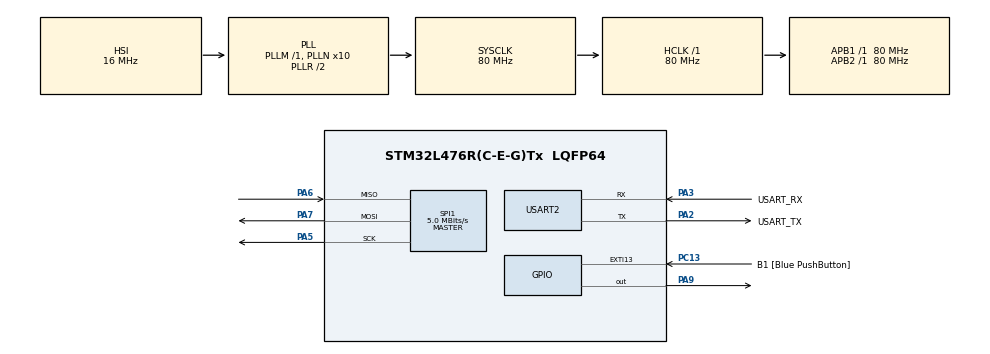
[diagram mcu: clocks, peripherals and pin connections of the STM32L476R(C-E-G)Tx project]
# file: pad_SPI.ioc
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Mcu.Family=STM32L4
Mcu.Name=STM32L476R(C-E-G)Tx
Mcu.Package=LQFP64
NVIC.PriorityGroup=NVIC_PRIORITYGROUP_4
PA13\ (JTMS-SWDIO).GPIO_Label=TMS
PA13\ (JTMS-SWDIO).Mode=Serial_Wire
PA13\ (JTMS-SWDIO).Signal=SYS_JTMS-SWDIO
PA14\ (JTCK-SWCLK).GPIO_Label=TCK
PA14\ (JTCK-SWCLK).Mode=Serial_Wire
PA14\ (JTCK-SWCLK).Signal=SYS_JTCK-SWCLK
PA2.GPIO_Label=USART_TX
PA2.GPIO_Mode=GPIO_MODE_AF_PP
PA2.GPIO_PuPd=GPIO_NOPULL
PA2.GPIO_Speed=GPIO_SPEED_FREQ_VERY_HIGH
PA2.Mode=Asynchronous
PA2.Signal=USART2_TX
PA3.GPIO_Label=USART_RX
PA3.GPIO_Mode=GPIO_MODE_AF_PP
PA3.GPIO_PuPd=GPIO_NOPULL
PA3.GPIO_Speed=GPIO_SPEED_FREQ_VERY_HIGH
PA3.Mode=Asynchronous
PA3.Signal=USART2_RX
PA5.Mode=Full_Duplex_Master
PA5.Signal=SPI1_SCK
PA6.Mode=Full_Duplex_Master
PA6.Signal=SPI1_MISO
PA7.Mode=Full_Duplex_Master
PA7.Signal=SPI1_MOSI
PA9.Signal=GPIO_Output
PB3\ (JTDO-TRACESWO).GPIO_Label=SWO
PB3\ (JTDO-TRACESWO).Signal=SYS_JTDO-SWO
PC13.GPIO_Label=B1 [Blue PushButton]
PC13.GPIO_ModeDefaultEXTI=GPIO_MODE_IT_FALLING
PC13.GPIO_PuPd=GPIO_NOPULL
PC13.Signal=GPXTI13
PC14-OSC32_IN\ (PC14).Mode=LSE-External-Oscillator
PC14-OSC32_IN\ (PC14).Signal=RCC_OSC32_IN
PC15-OSC32_OUT\ (PC15).Mode=LSE-External-Oscillator
PC15-OSC32_OUT\ (PC15).Signal=RCC_OSC32_OUT
PH0-OSC_IN\ (PH0).Signal=RCC_OSC_IN
PH1-OSC_OUT\ (PH1).Signal=RCC_OSC_OUT
ProjectManager.HeapSize=0x200
ProjectManager.StackSize=0x400
ProjectManager.TargetToolchain=STM32CubeIDE
RCC.ADCFreq_Value=64000000
RCC.AHBFreq_Value=80000000
RCC.APB1Freq_Value=80000000
RCC.APB1TimFreq_Value=80000000
RCC.APB2Freq_Value=80000000
RCC.APB2TimFreq_Value=80000000
RCC.CortexFreq_Value=80000000
RCC.HCLKFreq_Value=80000000
RCC.HSE_VALUE=8000000
RCC.HSI_VALUE=16000000
RCC.MSI_VALUE=4000000
RCC.PLLN=10
RCC.PLLSourceVirtual=RCC_PLLSOURCE_HSI
RCC.PREFETCH_ENABLE=1
RCC.SYSCLKFreq_VALUE=80000000
RCC.SYSCLKSource=RCC_SYSCLKSOURCE_PLLCLK
RCC.USBFreq_Value=64000000
RCC.VCOOutputFreq_Value=160000000
SPI1.BaudRatePrescaler=SPI_BAUDRATEPRESCALER_16
SPI1.CLKPhase=SPI_PHASE_1EDGE
SPI1.CalculateBaudRate=5.0 MBits/s
SPI1.DataSize=SPI_DATASIZE_8BIT
SPI1.Direction=SPI_DIRECTION_2LINES
SPI1.Mode=SPI_MODE_MASTER
SPI1.NSSPMode=SPI_NSS_PULSE_DISABLE
SPI1.VirtualType=VM_MASTER
USART2.VirtualMode-Asynchronous=VM_ASYNC
board=NUCLEO-L476RG

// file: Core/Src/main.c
/* USER CODE BEGIN Header */
/**
  ******************************************************************************
  * @file           : main.c
  * @brief          : Main program body
  ******************************************************************************
  * @attention
  *
  * Copyright (c) 2022 STMicroelectronics.
  * All rights reserved.
  *
  * This software is licensed under terms that can be found in the LICENSE file
  * in the root directory of this software component.
  * If no LICENSE file comes with this software, it is provided AS-IS.
  *
  ******************************************************************************
  */
/* USER CODE END Header */
#include "main.h"

/* USER CODE BEGIN Includes */
#include "bmp280.h"
#include "string.h"
#include "stdio.h"
/* USER CODE END Includes */

SPI_HandleTypeDef hspi1;

UART_HandleTypeDef huart2;

void SystemClock_Config(void);
static void MX_GPIO_Init(void);
static void MX_USART2_UART_Init(void);
static void MX_SPI1_Init(void);

int main(void)
{
  /* USER CODE BEGIN 1 */
	char buffer_usart[32] = {0};
  /* USER CODE END 1 */

  /* MCU Configuration--------------------------------------------------------*/

  /* Reset of all peripherals, Initializes the Flash interface and the Systick. */
  HAL_Init();

  /* Configure the system clock */
  SystemClock_Config();

  /* Initialize all configured peripherals */
  MX_GPIO_Init();
  MX_USART2_UART_Init();
  MX_SPI1_Init();

  /* Infinite loop */
  /* USER CODE BEGIN WHILE */
  HAL_GPIO_WritePin(GPIOA, GPIO_PIN_9, GPIO_PIN_SET);
  while (1)
  {
    /* USER CODE END WHILE */

    /* USER CODE BEGIN 3 */
	  HAL_GPIO_WritePin(GPIOA, GPIO_PIN_9, GPIO_PIN_RESET);
	  BMP280_init(0b00101011, (F5_t_sb_500ms | F5_filter_1 | F5_spi4w_en));
	  HAL_GPIO_WritePin(GPIOA, GPIO_PIN_9, GPIO_PIN_SET);

	  HAL_GPIO_WritePin(GPIOA, GPIO_PIN_9, GPIO_PIN_RESET);
	  BMP280_get_calib_values();
	  HAL_GPIO_WritePin(GPIOA, GPIO_PIN_9, GPIO_PIN_SET);

	  HAL_GPIO_WritePin(GPIOA, GPIO_PIN_9, GPIO_PIN_RESET);
	  BMP280_get_status();
	  HAL_GPIO_WritePin(GPIOA, GPIO_PIN_9, GPIO_PIN_SET);

	  HAL_GPIO_WritePin(GPIOA, GPIO_PIN_9, GPIO_PIN_RESET);
	  BMP280_calc_values();
	  HAL_GPIO_WritePin(GPIOA, GPIO_PIN_9, GPIO_PIN_SET);

	  sprintf(buffer_usart , "Temp = %f \r\n", temperature);
	  HAL_UART_Transmit(&huart2, (uint8_t *)buffer_usart, strlen(buffer_usart), 100);
	  HAL_Delay(500);
  }
  /* USER CODE END 3 */
}

void SystemClock_Config(void)
{
  RCC_OscInitTypeDef RCC_OscInitStruct = {0};
  RCC_ClkInitTypeDef RCC_ClkInitStruct = {0};

  /** Configure the main internal regulator output voltage
  */
  if (HAL_PWREx_ControlVoltageScaling(PWR_REGULATOR_VOLTAGE_SCALE1) != HAL_OK)
  {
    Error_Handler();
  }

  /** Initializes the RCC Oscillators according to the specified parameters
  * in the RCC_OscInitTypeDef structure.
  */
  RCC_OscInitStruct.OscillatorType = RCC_OSCILLATORTYPE_HSI;
  RCC_OscInitStruct.HSIState = RCC_HSI_ON;
  RCC_OscInitStruct.HSICalibrationValue = RCC_HSICALIBRATION_DEFAULT;
  RCC_OscInitStruct.PLL.PLLState = RCC_PLL_ON;
  RCC_OscInitStruct.PLL.PLLSource = RCC_PLLSOURCE_HSI;
  RCC_OscInitStruct.PLL.PLLM = 1;
  RCC_OscInitStruct.PLL.PLLN = 10;
  RCC_OscInitStruct.PLL.PLLP = RCC_PLLP_DIV7;
  RCC_OscInitStruct.PLL.PLLQ = RCC_PLLQ_DIV2;
  RCC_OscInitStruct.PLL.PLLR = RCC_PLLR_DIV2;
  if (HAL_RCC_OscConfig(&RCC_OscInitStruct) != HAL_OK)
  {
    Error_Handler();
  }

  /** Initializes the CPU, AHB and APB buses clocks
  */
  RCC_ClkInitStruct.ClockType = RCC_CLOCKTYPE_HCLK|RCC_CLOCKTYPE_SYSCLK
                              |RCC_CLOCKTYPE_PCLK1|RCC_CLOCKTYPE_PCLK2;
  RCC_ClkInitStruct.SYSCLKSource = RCC_SYSCLKSOURCE_PLLCLK;
  RCC_ClkInitStruct.AHBCLKDivider = RCC_SYSCLK_DIV1;
  RCC_ClkInitStruct.APB1CLKDivider = RCC_HCLK_DIV1;
  RCC_ClkInitStruct.APB2CLKDivider = RCC_HCLK_DIV1;

  if (HAL_RCC_ClockConfig(&RCC_ClkInitStruct, FLASH_LATENCY_4) != HAL_OK)
  {
    Error_Handler();
  }
}

static void MX_SPI1_Init(void)
{

  /* SPI1 parameter configuration*/
  hspi1.Instance = SPI1;
  hspi1.Init.Mode = SPI_MODE_MASTER;
  hspi1.Init.Direction = SPI_DIRECTION_2LINES;
  hspi1.Init.DataSize = SPI_DATASIZE_8BIT;
  hspi1.Init.CLKPolarity = SPI_POLARITY_LOW;
  hspi1.Init.CLKPhase = SPI_PHASE_1EDGE;
  hspi1.Init.NSS = SPI_NSS_SOFT;
  hspi1.Init.BaudRatePrescaler = SPI_BAUDRATEPRESCALER_16;
  hspi1.Init.FirstBit = SPI_FIRSTBIT_MSB;
  hspi1.Init.TIMode = SPI_TIMODE_DISABLE;
  hspi1.Init.CRCCalculation = SPI_CRCCALCULATION_DISABLE;
  hspi1.Init.CRCPolynomial = 7;
  hspi1.Init.CRCLength = SPI_CRC_LENGTH_DATASIZE;
  hspi1.Init.NSSPMode = SPI_NSS_PULSE_DISABLE;
  if (HAL_SPI_Init(&hspi1) != HAL_OK)
  {
    Error_Handler();
  }

}

static void MX_USART2_UART_Init(void)
{

  huart2.Instance = USART2;
  huart2.Init.BaudRate = 115200;
  huart2.Init.WordLength = UART_WORDLENGTH_8B;
  huart2.Init.StopBits = UART_STOPBITS_1;
  huart2.Init.Parity = UART_PARITY_NONE;
  huart2.Init.Mode = UART_MODE_TX_RX;
  huart2.Init.HwFlowCtl = UART_HWCONTROL_NONE;
  huart2.Init.OverSampling = UART_OVERSAMPLING_16;
  huart2.Init.OneBitSampling = UART_ONE_BIT_SAMPLE_DISABLE;
  huart2.AdvancedInit.AdvFeatureInit = UART_ADVFEATURE_NO_INIT;
  if (HAL_UART_Init(&huart2) != HAL_OK)
  {
    Error_Handler();
  }

}

static void MX_GPIO_Init(void)
{
  GPIO_InitTypeDef GPIO_InitStruct = {0};

  /* GPIO Ports Clock Enable */
  __HAL_RCC_GPIOC_CLK_ENABLE();
  __HAL_RCC_GPIOH_CLK_ENABLE();
  __HAL_RCC_GPIOA_CLK_ENABLE();
  __HAL_RCC_GPIOB_CLK_ENABLE();

  /*Configure GPIO pin Output Level */
  HAL_GPIO_WritePin(GPIOA, GPIO_PIN_9, GPIO_PIN_RESET);

  /*Configure GPIO pin : B1_Pin */
  GPIO_InitStruct.Pin = B1_Pin;
  GPIO_InitStruct.Mode = GPIO_MODE_IT_FALLING;
  GPIO_InitStruct.Pull = GPIO_NOPULL;
  HAL_GPIO_Init(B1_GPIO_Port, &GPIO_InitStruct);

  /*Configure GPIO pin : PA9 */
  GPIO_InitStruct.Pin = GPIO_PIN_9;
  GPIO_InitStruct.Mode = GPIO_MODE_OUTPUT_PP;
  GPIO_InitStruct.Pull = GPIO_NOPULL;
  GPIO_InitStruct.Speed = GPIO_SPEED_FREQ_LOW;
  HAL_GPIO_Init(GPIOA, &GPIO_InitStruct);

}

void Error_Handler(void)
{
  __disable_irq();
  while (1)
  {
  }
}
